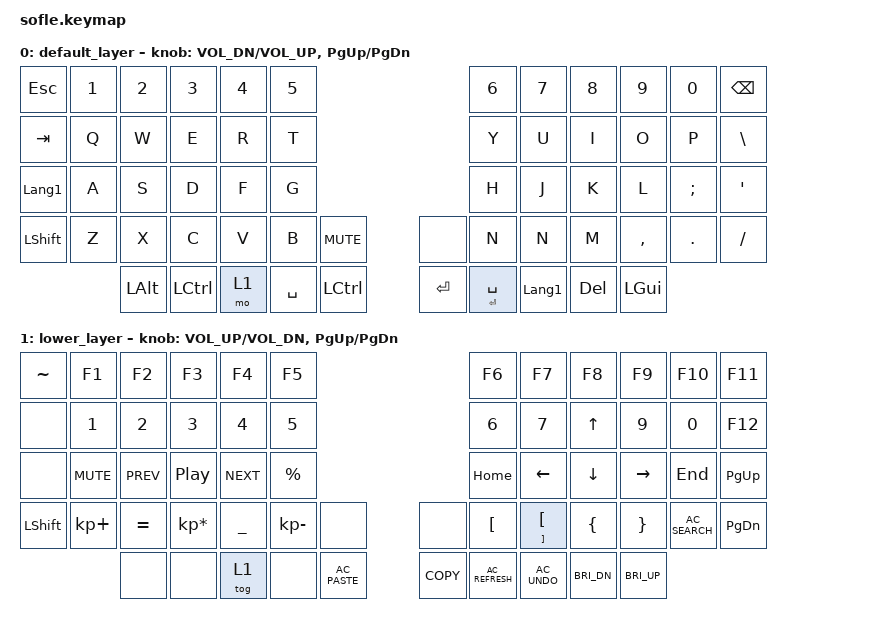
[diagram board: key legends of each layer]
/*
 * Copyright (c) 2020 The ZMK Contributors
 *
 * SPDX-License-Identifier: MIT
 */

#include <behaviors.dtsi>
#include <dt-bindings/zmk/keys.h>
#include <dt-bindings/zmk/bt.h>
#include <dt-bindings/zmk/rgb.h>
#include <dt-bindings/zmk/ext_power.h>

#define TAPPING_TERM_MS 300
#define TAPPING_TERM_MS_FAST 200

/*
 * Caps Word Settings
 */
&caps_word {
    // Allow caps word to continue even when minus or underscore
    // are pressed.
    // Also prevent mod presses from cancelling caps word.
    continue-list = <
      UNDERSCORE MINUS
      LCTRL LALT LGUI LSHFT
      RCTRL RALT RGUI RSHFT
      BACKSPACE
    >;
};

  behaviors {

    /*
     * Homerow Mods
     *
     * Usage: &hm LSHFT T
     * Tap: T
     * Tap-Tap-Hold: Repeat T
     * Hold: LSHIFT
     */

    // Homerow mods that work on all keys
    hm: homerow_mods {
      compatible = "zmk,behavior-hold-tap";
      label = "HOMEROW_MODS";
      #binding-cells = <2>;
      tapping-term-ms = <TAPPING_TERM_MS>;
      quick_tap_ms = <200>;
      flavor = "tap-preferred";
      bindings = <&kp>, <&kp>;
    };


    // Homerow mods with lower tapping term for shift
    hm_fast: homerow_mods {
      compatible = "zmk,behavior-hold-tap";
      label = "HOMEROW_MODS_FAST";
      #binding-cells = <2>;
      tapping-term-ms = <TAPPING_TERM_MS_FAST>;
      quick_tap_ms = <200>;
      flavor = "tap-preferred";
      bindings = <&kp>, <&kp>;
    };

    // Positional Homerow mods
    // Homerow mods that prevent accidental activations when rolling keys,
    // such as when typing `st` or `ne` on colemak-dh layouts or `as` on
    // qwerty.
    //
    // Works by only allowing a mod to activate within tapping-term if it's
    // on the opposite side of the keyboard or on the same side thumb keys.
    hm_l: homerow_mods_left {
      compatible = "zmk,behavior-hold-tap";
      label = "HOMEROW_MODS_LEFT";
      #binding-cells = <2>;
      tapping-term-ms = <TAPPING_TERM_MS>;
      quick_tap_ms = <200>;
      flavor = "tap-preferred";
      bindings = <&kp>, <&kp>;
      hold-trigger-key-positions = <
        6   7   8   9   10  11
        18  19  20  21  22  23
        30  31  32  33  34  35
        43  44  45  46  47  48  49
                50  51  52  53  54
                55  56  57  58  59
      >;
    };

    hm_r: homerow_mods_right {
      compatible = "zmk,behavior-hold-tap";
      label = "HOMEROW_MODS_RIGHT";
      #binding-cells = <2>;
      tapping-term-ms = <TAPPING_TERM_MS>;
      quick_tap_ms = <200>;
      flavor = "tap-preferred";
      bindings = <&kp>, <&kp>;
      hold-trigger-key-positions = <
        0   1   2   3   4   5
        12  13  14  15  16  17
        24  25  26  27  28  29
        36  37  38  39  40  41  42
                50  51  52  53  54
                55  56  57  58  59
      >;
    };

    // Fast Positional Homerow mods
    hm_fast_l: homerow_mods_left {
      compatible = "zmk,behavior-hold-tap";
      label = "HOMEROW_MODS_FAST_LEFT";
      #binding-cells = <2>;
      tapping-term-ms = <TAPPING_TERM_MS_FAST>;
      quick_tap_ms = <200>;
      flavor = "tap-preferred";
      bindings = <&kp>, <&kp>;
      hold-trigger-key-positions = <
        6   7   8   9   10  11
        18  19  20  21  22  23
        30  31  32  33  34  35
        43  44  45  46  47  48  49
                50  51  52  53  54
                55  56  57  58  59
      >;
    };

    hm_fast_r: homerow_mods_right {
      compatible = "zmk,behavior-hold-tap";
      label = "HOMEROW_MODS_FAST_RIGHT";
      #binding-cells = <2>;
      tapping-term-ms = <TAPPING_TERM_MS_FAST>;
      quick_tap_ms = <200>;
      flavor = "tap-preferred";
      bindings = <&kp>, <&kp>;
      hold-trigger-key-positions = <
        0   1   2   3   4   5
        12  13  14  15  16  17
        24  25  26  27  28  29
        36  37  38  39  40  41  42
                50  51  52  53  54
                55  56  57  58  59
      >;
    };

    /*
     * Auto Mod
     *
     * Usage: &am RPAR LPAR
     * Hold: )
     * Tap: (
     *
     * --
     *
     * Auto Shift
     *
     * Usage: AS(A)
     * Hold: A (shifted 'a')
     * Tap: a
     */

    am: auto_mod {
      compatible = "zmk,behavior-hold-tap";
      label = "AUTO_MOD";
      #binding-cells = <2>;
      tapping_term_ms = <300>;
      quick_tap_ms = <0>;
      flavor = "tap-preferred";
      bindings = <&kp>, <&kp>;
    };
    #define AM(hold_keycode, tap_keytcode) &am hold_keycode tap_keycode
    #define AS(keycode) &am LS(keycode) keycode

    /*
     * Tap dancing shift
     *
     * Usage: &td_shift
     * Hold: Shift
     * Double Tap: Caps Word
     * Triple Tap: Caps Lock
     */

    td_shift: tap_dance_0 {
        compatible = "zmk,behavior-tap-dance";
        label = "TAP_DANCE_SHIFT";
        #binding-cells = <0>;
        tapping-term-ms = <TAPPING_TERM_MS>;
        bindings = <&kp RIGHT_SHIFT>, <&caps_word>, <&kp CAPSLOCK>;
    };

    /*
     * Shifted Backspace deletes
     *
     * Usage: &mm_bspc_del
     * Tap: Backspace
     * Shift-Tap: Delete
     */
    mm_bspc_del: bspc_del {
        compatible = "zmk,behavior-mod-morph";
        label = "BACKSPACE_DELETE";
        #binding-cells = <0>;
        bindings = <&kp BSPC>, <&kp DEL>;
        mods = <(MOD_LSFT|MOD_RSFT)>;

        // Requires forked zmk that supports this feature
        // https://github.com/zmkfirmware/zmk/pull/1114
        //
        // Ensures that when pressing Shift-Delete only delete is sent
        // and not Shift-Delete
        masked_mods = <(MOD_LSFT|MOD_RSFT)>;
    };

    /*
     * Shifted Backspace deletes + Layer Tap
     *
     * Usage: &mm_bspc_del_layer
     * Tap: Backspace
     * Shift-Tap: Delete
     * Hold: Switch layer
     */
    mm_bspc_del_layer: bspc_del_layer {
        compatible = "zmk,behavior-mod-morph";
        label = "BACKSPACE_DELETE_LAYER";
        #binding-cells = <0>;
        bindings = <&lt NUM BSPC>, <&kp DEL>;
        mods = <(MOD_LSFT|MOD_RSFT)>;

        // Requires forked zmk that supports this feature
        // https://github.com/zmkfirmware/zmk/pull/1114
        //
        // Ensures that when pressing Shift-Delete only delete is sent
        // and not Shift-Delete
        masked_mods = <(MOD_LSFT|MOD_RSFT)>;
    };


    /*
     * Grave Escape
     *
     * Usage: &mm_spc_unds_layer
     * Tap: Escape
     * LShift-Tap: `
     * RShift-Tap: ~
     */
     grescm: grave_escape_masked {
         compatible = "zmk,behavior-mod-morph";
         label = "GRESC";
         #binding-cells = <0>;
         bindings = <&kp ESCAPE>, <&kp GRAVE>;
         mods = <(MOD_LSFT|MOD_RSFT)>;

        // Requires forked zmk that supports this feature
        // https://github.com/zmkfirmware/zmk/pull/1114
         masked_mods = <(MOD_LSFT)>;
     };

    /*
     * Grave Escape + GUI
     *
     * Usage: &grescm_gui
     * Tap: Escape
     * LShift-Tap: `
     * RShift-Tap: ~
     * Hold: GUI
     */
     grescm_gui: grave_escape_masked_gui {
         compatible = "zmk,behavior-mod-morph";
         label = "GRESC_GUI";
         #binding-cells = <0>;
         bindings = <&hm LGUI ESCAPE>, <&kp GRAVE>;
         mods = <(MOD_LSFT|MOD_RSFT)>;

        // Requires forked zmk that supports this feature
        // https://github.com/zmkfirmware/zmk/pull/1114
         masked_mods = <(MOD_LSFT)>;
     };

    /*
     * Round Bracket
     *
     * Usage: &mm_bracket_r
     * Tap: (
     * Shift-Tap: )
     * Hold: )
     */
     mm_bracket_r: mm_bracket_r {
         compatible = "zmk,behavior-mod-morph";
         label = "()";
         #binding-cells = <0>;
         bindings = <&am RPAR LPAR>, <&kp RPAR>;
         mods = <(MOD_LSFT|MOD_RSFT)>;
     };

    /*
     * Square Bracket
     *
     * Usage: &mm_bracket_sq
     * Tap: [
     * Shift-Tap: ]
     * Hold: ]
     */
     mm_bracket_sq: mm_bracket_sq {
         compatible = "zmk,behavior-mod-morph";
         label = "[]";
         #binding-cells = <0>;
         bindings = <&am RBKT LBKT>, <&kp RBKT>;
         mods = <(MOD_LSFT|MOD_RSFT)>;

        // Requires forked zmk that supports this feature
        // https://github.com/zmkfirmware/zmk/pull/1114
         masked_mods = <(MOD_LSFT|MOD_RSFT)>;
     };

    /*
     * Curly Bracket
     *
     * Usage: &mm_bracket_c
     * Tap: {
     * Shift-Tap: }
     * Hold: }
     */
     mm_bracket_c: mm_bracket_c {
         compatible = "zmk,behavior-mod-morph";
         label = "{}";
         #binding-cells = <0>;
         bindings = <&am RBRC LBRC>, <&kp RBRC>;
         mods = <(MOD_LSFT|MOD_RSFT)>;
     };

    combo_brc {
    timeout-ms = <50>;
    key-positions = <13 14>;
    bindings = <&macro_brc>;
    };

    macro_brc: macro_brc {
    compatible = "zmk,behavior-macro";
    label = "macro_brc";
    #binding-cells = <0>;
    bindings = <&kp LBRC>, <&kp RBRC>, <&kp LEFT>;
    };
  


    keymap {
        compatible = "zmk,keymap";

        default_layer {
// ------------------------------------------------------------------------------------------------------------
// |  ESC  |  1  |  2  |  3   |  4   |  5   |                   |  6   |  7    |  8    |  9   |   0   | BKSPC |
// |  TAB  |  Q  |  W  |  E   |  R   |  T   |                   |  Y   |  U    |  I    |  O   |   P   |  |   |
// |  LAG1 |  A  |  S  |  D   |  F   |  G   |                   |  H   |  J    |  K    |  L   |   ;   |   '   |
// | SHIFT |  Z  |  X  |  C   |  V   |  B   |  MUTE |  |       |     |  N   |  M    |  ,   |   .   | / |
//               | ALT | CTRL  | MO | SPACE | LCTL  |  | ENTER | SPACE | LAG1  | DEL   | GUI  |
            bindings = <
&kp ESC &kp N1 &kp N2   &kp N3   &kp N4    &kp N5                      &kp N6 &kp N7    &kp N8    &kp N9   &kp N0   &kp BSPC
&kp TAB  &kp Q  &kp W    &kp E    &kp R    &kp T                       &kp Y  &kp U     &kp I     &kp O    &kp P    &kp BSLH
&kp LANGUAGE_1  &kp A   &kp S    &kp D     &kp F     &kp G            &kp H  &kp J     &kp K     &kp L    &kp SEMI &kp SQT
&kp LSHFT &kp Z  &kp X    &kp C    &kp V   &kp B  &kp C_MUTE    &none &kp N &kp N &kp M   &kp COMMA &kp DOT &kp FSLH
                 &kp LALT &kp LCTRL &mo 1 &kp SPACE &kp LCTRL   &kp ENTER &mt ENTER SPACE  &kp LANGUAGE_1 &kp DEL  &kp LGUI
            >;

            sensor-bindings = <&inc_dec_kp C_VOL_DN C_VOL_UP &inc_dec_kp PG_UP PG_DN>;
        };

        lower_layer {
// ------------------------------------------------------------------------------------------------------------
// |  ~    |  F1 |  F2 |  F3  |  F4  |  F5  |                   |  F6  |  F7   |  F8   |  F9  |  F10  |  F11  |
// | RGB on/off  |  1  |   2 |   3  |   4  |   5  |                   |   6  |   7   |   UP   |   9  |    0  |  F12  |
// | RGB change | Mute | PRV | PlAY | NEXT  |  %   |                 |  Home  |  LEFT  |  DOWN   |  RIGHT  | END  |  PgUP  |
// | SHIFT |  +  |  =  |  *   |    _   |  -   |    |   |  |[ | ] | { | } | SRCH |   PgDn |
//             | BT | | OSL(0)|  |    | PASTE |      | COPY |RFRSH| UNDO | SCR-  | SCR+  |      
            bindings = <
&kp TILDE   &kp F1    &kp F2    &kp F3      &kp F4    &kp F5                                 &kp F6    &kp F7    &kp F8        &kp F9    &kp F10   &kp F11
&none &kp N1    &kp N2    &kp N3      &kp N4    &kp N5                                 &kp N6    &kp N7    &kp UP        &kp N9    &kp N0    &kp F12
&none &kp C_MUTE  &kp C_PREV    &kp C_PP    &kp C_NEXT  &kp PRCNT                      &kp HOME  &kp LEFT  &kp DOWN      &kp RIGHT &kp END  &kp PG_UP
&kp LSHFT &kp KP_PLUS &kp EQUAL  &kp KP_MULTIPLY &kp UNDER &kp KP_MINUS &none     &none  &kp LBKT  &mt RBKT  LBKT &kp LBRC  &kp RBRC  &kp C_AC_SEARCH  &kp PG_DN
            &none &none  &tog 1 &none &kp C_AC_PASTE                         &kp K_COPY &kp C_AC_REFRESH  &kp C_AC_UNDO      &kp C_BRI_DN     &kp C_BRI_UP
            >;

            sensor-bindings = <&inc_dec_kp C_VOL_UP C_VOL_DN &inc_dec_kp PG_UP PG_DN>;
        };

        
    };
};

